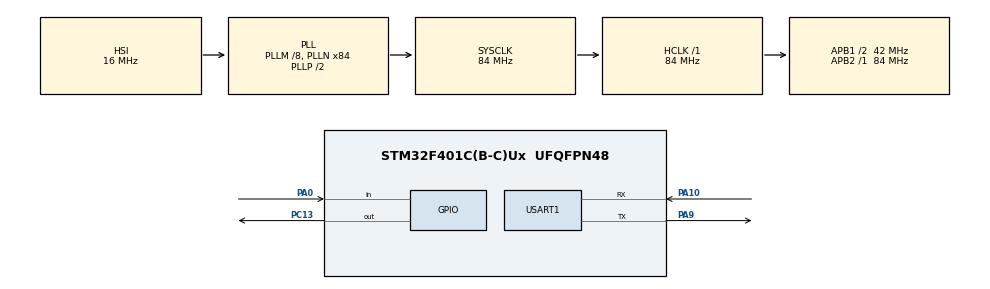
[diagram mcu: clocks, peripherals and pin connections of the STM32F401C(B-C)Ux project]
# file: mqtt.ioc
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Mcu.Family=STM32F4
Mcu.Name=STM32F401C(B-C)Ux
Mcu.Package=UFQFPN48
NVIC.PriorityGroup=NVIC_PRIORITYGROUP_4
NVIC.USART1_IRQn=true\:0\:0\:false\:false\:true\:true\:true
PA0-WKUP.Signal=GPIO_Input
PA10.Mode=Asynchronous
PA10.Signal=USART1_RX
PA13.Mode=Serial_Wire
PA13.Signal=SYS_JTMS-SWDIO
PA14.Mode=Serial_Wire
PA14.Signal=SYS_JTCK-SWCLK
PA9.Mode=Asynchronous
PA9.Signal=USART1_TX
PC13-ANTI_TAMP.Signal=GPIO_Output
PH0\ -\ OSC_IN.Mode=HSE-External-Oscillator
PH0\ -\ OSC_IN.Signal=RCC_OSC_IN
PH1\ -\ OSC_OUT.Mode=HSE-External-Oscillator
PH1\ -\ OSC_OUT.Signal=RCC_OSC_OUT
ProjectManager.HeapSize=0x200
ProjectManager.StackSize=0x400
ProjectManager.TargetToolchain=STM32CubeIDE
RCC.48MHZClocksFreq_Value=42000000
RCC.AHBFreq_Value=84000000
RCC.APB1CLKDivider=RCC_HCLK_DIV2
RCC.APB1Freq_Value=42000000
RCC.APB1TimFreq_Value=84000000
RCC.APB2Freq_Value=84000000
RCC.APB2TimFreq_Value=84000000
RCC.CortexFreq_Value=84000000
RCC.HCLKFreq_Value=84000000
RCC.HSE_VALUE=25000000
RCC.HSI_VALUE=16000000
RCC.LSE_VALUE=32768
RCC.PLLM=8
RCC.PLLN=84
RCC.SYSCLKFreq_VALUE=84000000
RCC.SYSCLKSource=RCC_SYSCLKSOURCE_PLLCLK
RCC.VCOOutputFreq_Value=168000000
USART1.VirtualMode=VM_ASYNC
board=custom

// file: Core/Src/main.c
/* USER CODE BEGIN Header */
/**
  ******************************************************************************
  * @file           : main.c
  * @brief          : Main program body
  ******************************************************************************
  * @attention
  *
  * Copyright (c) 2022 STMicroelectronics.
  * All rights reserved.
  *
  * This software is licensed under terms that can be found in the LICENSE file
  * in the root directory of this software component.
  * If no LICENSE file comes with this software, it is provided AS-IS.
  *
  ******************************************************************************
  */
/* USER CODE END Header */
#include "main.h"
#include "mqtt.h"

UART_HandleTypeDef huart1;

void SystemClock_Config(void);
static void MX_GPIO_Init(void);
static void MX_USART1_UART_Init(void);

int main(void)
{

  /* MCU Configuration--------------------------------------------------------*/

  /* Reset of all peripherals, Initializes the Flash interface and the Systick. */
  HAL_Init();

  /* Configure the system clock */
  SystemClock_Config();

  /* Initialize all configured peripherals */
  MX_GPIO_Init();
  MX_USART1_UART_Init();
  /* USER CODE BEGIN 2 */
  ESP8266_Init(&huart1);
  Wifi_Connect("Satech","Erisilmiyor12");

  MQTT_InitTypeDef_t MQTT_InitStructure;
  char* mqttClientId = "selcuk";
  MQTT_InitStructure.ConnectionType=MQTT_Connect;
  MQTT_InitStructure.QoS=0x00;
  MQTT_InitStructure.Flag=0x02;
  MQTT_InitStructure.KeepAlive=60;
  MQTT_InitStructure.ClientID=mqttClientId;
  MQTT_Init(&MQTT_InitStructure);

  MQTT_ConnectBroker("broker.mqttdashboard.com","8080");
  /* USER CODE END 2 */

  /* Infinite loop */
  while (1)
  {

    /* USER CODE BEGIN 3 */

	  HAL_GPIO_WritePin(GPIOC, GPIO_PIN_13, GPIO_PIN_SET);
	  HAL_Delay(100);
	  HAL_GPIO_WritePin(GPIOC, GPIO_PIN_13, GPIO_PIN_RESET);
	  HAL_Delay(100);

  }
  /* USER CODE END 3 */
}

void SystemClock_Config(void)
{
  RCC_OscInitTypeDef RCC_OscInitStruct = {0};
  RCC_ClkInitTypeDef RCC_ClkInitStruct = {0};

  /** Configure the main internal regulator output voltage
  */
  __HAL_RCC_PWR_CLK_ENABLE();
  __HAL_PWR_VOLTAGESCALING_CONFIG(PWR_REGULATOR_VOLTAGE_SCALE2);
  /** Initializes the RCC Oscillators according to the specified parameters
  * in the RCC_OscInitTypeDef structure.
  */
  RCC_OscInitStruct.OscillatorType = RCC_OSCILLATORTYPE_HSI;
  RCC_OscInitStruct.HSIState = RCC_HSI_ON;
  RCC_OscInitStruct.HSICalibrationValue = RCC_HSICALIBRATION_DEFAULT;
  RCC_OscInitStruct.PLL.PLLState = RCC_PLL_ON;
  RCC_OscInitStruct.PLL.PLLSource = RCC_PLLSOURCE_HSI;
  RCC_OscInitStruct.PLL.PLLM = 8;
  RCC_OscInitStruct.PLL.PLLN = 84;
  RCC_OscInitStruct.PLL.PLLP = RCC_PLLP_DIV2;
  RCC_OscInitStruct.PLL.PLLQ = 4;
  if (HAL_RCC_OscConfig(&RCC_OscInitStruct) != HAL_OK)
  {
    Error_Handler();
  }
  /** Initializes the CPU, AHB and APB buses clocks
  */
  RCC_ClkInitStruct.ClockType = RCC_CLOCKTYPE_HCLK|RCC_CLOCKTYPE_SYSCLK
                              |RCC_CLOCKTYPE_PCLK1|RCC_CLOCKTYPE_PCLK2;
  RCC_ClkInitStruct.SYSCLKSource = RCC_SYSCLKSOURCE_PLLCLK;
  RCC_ClkInitStruct.AHBCLKDivider = RCC_SYSCLK_DIV1;
  RCC_ClkInitStruct.APB1CLKDivider = RCC_HCLK_DIV2;
  RCC_ClkInitStruct.APB2CLKDivider = RCC_HCLK_DIV1;

  if (HAL_RCC_ClockConfig(&RCC_ClkInitStruct, FLASH_LATENCY_2) != HAL_OK)
  {
    Error_Handler();
  }
}

static void MX_USART1_UART_Init(void)
{

  huart1.Instance = USART1;
  huart1.Init.BaudRate = 115200;
  huart1.Init.WordLength = UART_WORDLENGTH_8B;
  huart1.Init.StopBits = UART_STOPBITS_1;
  huart1.Init.Parity = UART_PARITY_NONE;
  huart1.Init.Mode = UART_MODE_TX_RX;
  huart1.Init.HwFlowCtl = UART_HWCONTROL_NONE;
  huart1.Init.OverSampling = UART_OVERSAMPLING_16;
  if (HAL_UART_Init(&huart1) != HAL_OK)
  {
    Error_Handler();
  }

}

static void MX_GPIO_Init(void)
{
  GPIO_InitTypeDef GPIO_InitStruct = {0};

  /* GPIO Ports Clock Enable */
  __HAL_RCC_GPIOC_CLK_ENABLE();
  __HAL_RCC_GPIOH_CLK_ENABLE();
  __HAL_RCC_GPIOA_CLK_ENABLE();

  /*Configure GPIO pin Output Level */
  HAL_GPIO_WritePin(GPIOC, GPIO_PIN_13, GPIO_PIN_RESET);

  /*Configure GPIO pin : PC13 */
  GPIO_InitStruct.Pin = GPIO_PIN_13;
  GPIO_InitStruct.Mode = GPIO_MODE_OUTPUT_PP;
  GPIO_InitStruct.Pull = GPIO_NOPULL;
  GPIO_InitStruct.Speed = GPIO_SPEED_FREQ_LOW;
  HAL_GPIO_Init(GPIOC, &GPIO_InitStruct);

  /*Configure GPIO pin : PA0 */
  GPIO_InitStruct.Pin = GPIO_PIN_0;
  GPIO_InitStruct.Mode = GPIO_MODE_INPUT;
  GPIO_InitStruct.Pull = GPIO_NOPULL;
  HAL_GPIO_Init(GPIOA, &GPIO_InitStruct);

}

void Error_Handler(void)
{
  __disable_irq();
  while (1)
  {
  }
}
